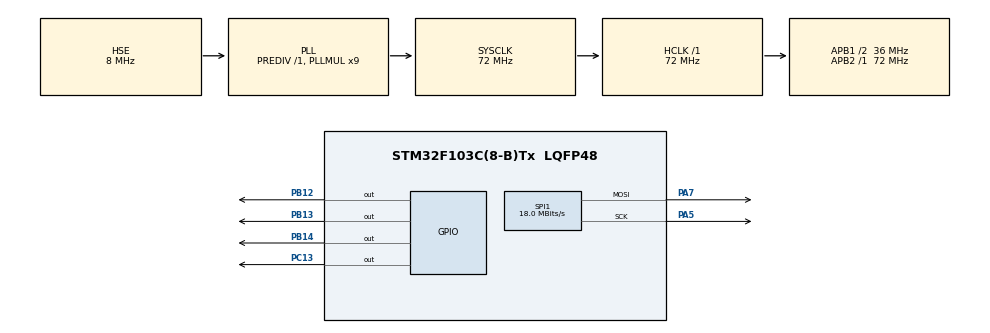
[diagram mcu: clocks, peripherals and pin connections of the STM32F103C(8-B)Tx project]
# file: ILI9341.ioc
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Dma.Request0=SPI1_TX
Dma.SPI1_TX.0.Direction=DMA_MEMORY_TO_PERIPH
Dma.SPI1_TX.0.Instance=DMA1_Channel3
Dma.SPI1_TX.0.MemDataAlignment=DMA_MDATAALIGN_BYTE
Dma.SPI1_TX.0.MemInc=DMA_MINC_ENABLE
Dma.SPI1_TX.0.Mode=DMA_NORMAL
Dma.SPI1_TX.0.PeriphDataAlignment=DMA_PDATAALIGN_BYTE
Dma.SPI1_TX.0.PeriphInc=DMA_PINC_DISABLE
Dma.SPI1_TX.0.Priority=DMA_PRIORITY_LOW
Mcu.Family=STM32F1
Mcu.Name=STM32F103C(8-B)Tx
Mcu.Package=LQFP48
NVIC.DMA1_Channel3_IRQn=true\:0\:0\:false\:false\:true\:false\:true\:true
NVIC.PriorityGroup=NVIC_PRIORITYGROUP_4
NVIC.SPI1_IRQn=true\:0\:0\:false\:false\:true\:true\:true\:true
PA13.Mode=Serial_Wire
PA13.Signal=SYS_JTMS-SWDIO
PA14.Mode=Serial_Wire
PA14.Signal=SYS_JTCK-SWCLK
PA5.Mode=TX_Only_Simplex_Unidirect_Master
PA5.Signal=SPI1_SCK
PA7.Mode=TX_Only_Simplex_Unidirect_Master
PA7.Signal=SPI1_MOSI
PB12.Signal=GPIO_Output
PB13.Signal=GPIO_Output
PB14.Signal=GPIO_Output
PC13-TAMPER-RTC.PinState=GPIO_PIN_RESET
PC13-TAMPER-RTC.Signal=GPIO_Output
PD0-OSC_IN.Mode=HSE-External-Oscillator
PD0-OSC_IN.Signal=RCC_OSC_IN
PD1-OSC_OUT.Mode=HSE-External-Oscillator
PD1-OSC_OUT.Signal=RCC_OSC_OUT
ProjectManager.HeapSize=0x200
ProjectManager.StackSize=0x400
ProjectManager.TargetToolchain=STM32CubeIDE
RCC.AHBFreq_Value=72000000
RCC.APB1CLKDivider=RCC_HCLK_DIV2
RCC.APB1Freq_Value=36000000
RCC.APB1TimFreq_Value=72000000
RCC.APB2Freq_Value=72000000
RCC.APB2TimFreq_Value=72000000
RCC.HCLKFreq_Value=72000000
RCC.PLLMUL=RCC_PLL_MUL9
RCC.PLLSourceVirtual=RCC_PLLSOURCE_HSE
RCC.SYSCLKFreq_VALUE=72000000
RCC.SYSCLKSource=RCC_SYSCLKSOURCE_PLLCLK
RCC.USBFreq_Value=72000000
SPI1.BaudRatePrescaler=SPI_BAUDRATEPRESCALER_4
SPI1.CalculateBaudRate=18.0 MBits/s
SPI1.Direction=SPI_DIRECTION_2LINES
SPI1.Mode=SPI_MODE_MASTER
SPI1.VirtualType=VM_MASTER
board=custom

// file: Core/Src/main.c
/* USER CODE BEGIN Header */
/**
 ******************************************************************************
 * @file           : main.c
 * @brief          : Main program body
 ******************************************************************************
 * @attention
 *
 * Copyright (c) 2022 STMicroelectronics.
 * All rights reserved.
 *
 * This software is licensed under terms that can be found in the LICENSE file
 * in the root directory of this software component.
 * If no LICENSE file comes with this software, it is provided AS-IS.
 *
 ******************************************************************************
 */
/* USER CODE END Header */
#include "main.h"

/* USER CODE BEGIN Includes */
#include "ili9341.h"
#include "ili9341_gfx.h"
#include "utils.h"
#include <stdio.h>
#include <stdlib.h>
/* USER CODE END Includes */

SPI_HandleTypeDef hspi1;
DMA_HandleTypeDef hdma_spi1_tx;

void SystemClock_Config(void);
static void MX_GPIO_Init(void);
static void MX_DMA_Init(void);
static void MX_SPI1_Init(void);
/* USER CODE BEGIN PFP */

static ili9341_t *lcd;

/* USER CODE END PFP */

int main(void) {

	/* MCU Configuration--------------------------------------------------------*/

	/* Reset of all peripherals, Initializes the Flash interface and the Systick. */
	HAL_Init();

	/* Configure the system clock */
	SystemClock_Config();

	/* Initialize all configured peripherals */
	MX_GPIO_Init();
	MX_DMA_Init();
	MX_SPI1_Init();
	/* USER CODE BEGIN 2 */

	lcd = ili9341_new(&hspi1, TFT_RESET_GPIO_Port, TFT_RESET_Pin,
	TFT_CS_GPIO_Port, TFT_CS_Pin, TFT_DC_GPIO_Port, TFT_DC_Pin, isoUp, GPIOC, 0, GPIOC, 0, 0, 0);

	char str_txtbuf[30];
	/* USER CODE END 2 */

	/* Infinite loop */
	/* USER CODE BEGIN WHILE */
	while (1) {
		int tick = HAL_GetTick();
		demoTFT(lcd);
		tick = HAL_GetTick() - tick;
		sprintf(str_txtbuf, "Benchmark time in ms: %d  ", tick);
		//ili9341_fill_screen(lcd, ILI9341_BLACK);
		ili9341_text_attr_t attr1 = { &ili9341_font_7x10, ILI9341_WHITE, ILI9341_BLACK, 0, 310 };
		ili9341_draw_string(lcd, attr1, str_txtbuf);
		HAL_Delay(3000);
		//HAL_GPIO_TogglePin(GPIOC, GPIO_PIN_13);
		/* USER CODE END WHILE */

	}
}

void SystemClock_Config(void) {
	RCC_OscInitTypeDef RCC_OscInitStruct = { 0 };
	RCC_ClkInitTypeDef RCC_ClkInitStruct = { 0 };

	/** Initializes the RCC Oscillators according to the specified parameters
	 * in the RCC_OscInitTypeDef structure.
	 */
	RCC_OscInitStruct.OscillatorType = RCC_OSCILLATORTYPE_HSE;
	RCC_OscInitStruct.HSEState = RCC_HSE_ON;
	RCC_OscInitStruct.HSEPredivValue = RCC_HSE_PREDIV_DIV1;
	RCC_OscInitStruct.HSIState = RCC_HSI_ON;
	RCC_OscInitStruct.PLL.PLLState = RCC_PLL_ON;
	RCC_OscInitStruct.PLL.PLLSource = RCC_PLLSOURCE_HSE;
	RCC_OscInitStruct.PLL.PLLMUL = RCC_PLL_MUL9;
	if (HAL_RCC_OscConfig(&RCC_OscInitStruct) != HAL_OK) {
		Error_Handler();
	}

	/** Initializes the CPU, AHB and APB buses clocks
	 */
	RCC_ClkInitStruct.ClockType = RCC_CLOCKTYPE_HCLK | RCC_CLOCKTYPE_SYSCLK | RCC_CLOCKTYPE_PCLK1 | RCC_CLOCKTYPE_PCLK2;
	RCC_ClkInitStruct.SYSCLKSource = RCC_SYSCLKSOURCE_PLLCLK;
	RCC_ClkInitStruct.AHBCLKDivider = RCC_SYSCLK_DIV1;
	RCC_ClkInitStruct.APB1CLKDivider = RCC_HCLK_DIV2;
	RCC_ClkInitStruct.APB2CLKDivider = RCC_HCLK_DIV1;

	if (HAL_RCC_ClockConfig(&RCC_ClkInitStruct, FLASH_LATENCY_2) != HAL_OK) {
		Error_Handler();
	}
}

static void MX_SPI1_Init(void) {

	/* SPI1 parameter configuration*/
	hspi1.Instance = SPI1;
	hspi1.Init.Mode = SPI_MODE_MASTER;
	hspi1.Init.Direction = SPI_DIRECTION_2LINES;
	hspi1.Init.DataSize = SPI_DATASIZE_8BIT;
	hspi1.Init.CLKPolarity = SPI_POLARITY_LOW;
	hspi1.Init.CLKPhase = SPI_PHASE_1EDGE;
	hspi1.Init.NSS = SPI_NSS_SOFT;
	hspi1.Init.BaudRatePrescaler = SPI_BAUDRATEPRESCALER_4;
	hspi1.Init.FirstBit = SPI_FIRSTBIT_MSB;
	hspi1.Init.TIMode = SPI_TIMODE_DISABLE;
	hspi1.Init.CRCCalculation = SPI_CRCCALCULATION_DISABLE;
	hspi1.Init.CRCPolynomial = 10;
	if (HAL_SPI_Init(&hspi1) != HAL_OK) {
		Error_Handler();
	}

}

static void MX_DMA_Init(void) {

	/* DMA controller clock enable */
	__HAL_RCC_DMA1_CLK_ENABLE();

	/* DMA interrupt init */
	/* DMA1_Channel3_IRQn interrupt configuration */
	HAL_NVIC_SetPriority(DMA1_Channel3_IRQn, 0, 0);
	HAL_NVIC_EnableIRQ(DMA1_Channel3_IRQn);

}

static void MX_GPIO_Init(void) {
	GPIO_InitTypeDef GPIO_InitStruct = { 0 };

	/* GPIO Ports Clock Enable */
	__HAL_RCC_GPIOC_CLK_ENABLE();
	__HAL_RCC_GPIOD_CLK_ENABLE();
	__HAL_RCC_GPIOA_CLK_ENABLE();
	__HAL_RCC_GPIOB_CLK_ENABLE();

	/*Configure GPIO pin Output Level */
	HAL_GPIO_WritePin(GPIOC, GPIO_PIN_13, GPIO_PIN_RESET);

	/*Configure GPIO pin Output Level */
	HAL_GPIO_WritePin(GPIOB, GPIO_PIN_12 | GPIO_PIN_13 | GPIO_PIN_14, GPIO_PIN_RESET);

	/*Configure GPIO pin : PC13 */
	GPIO_InitStruct.Pin = GPIO_PIN_13;
	GPIO_InitStruct.Mode = GPIO_MODE_OUTPUT_PP;
	GPIO_InitStruct.Pull = GPIO_NOPULL;
	GPIO_InitStruct.Speed = GPIO_SPEED_FREQ_LOW;
	HAL_GPIO_Init(GPIOC, &GPIO_InitStruct);

	/*Configure GPIO pins : PB12 PB13 PB14 */
	GPIO_InitStruct.Pin = GPIO_PIN_12 | GPIO_PIN_13 | GPIO_PIN_14;
	GPIO_InitStruct.Mode = GPIO_MODE_OUTPUT_PP;
	GPIO_InitStruct.Pull = GPIO_NOPULL;
	GPIO_InitStruct.Speed = GPIO_SPEED_FREQ_LOW;
	HAL_GPIO_Init(GPIOB, &GPIO_InitStruct);

}

void Error_Handler(void) {
	__disable_irq();
	while (1) {
	}
}
